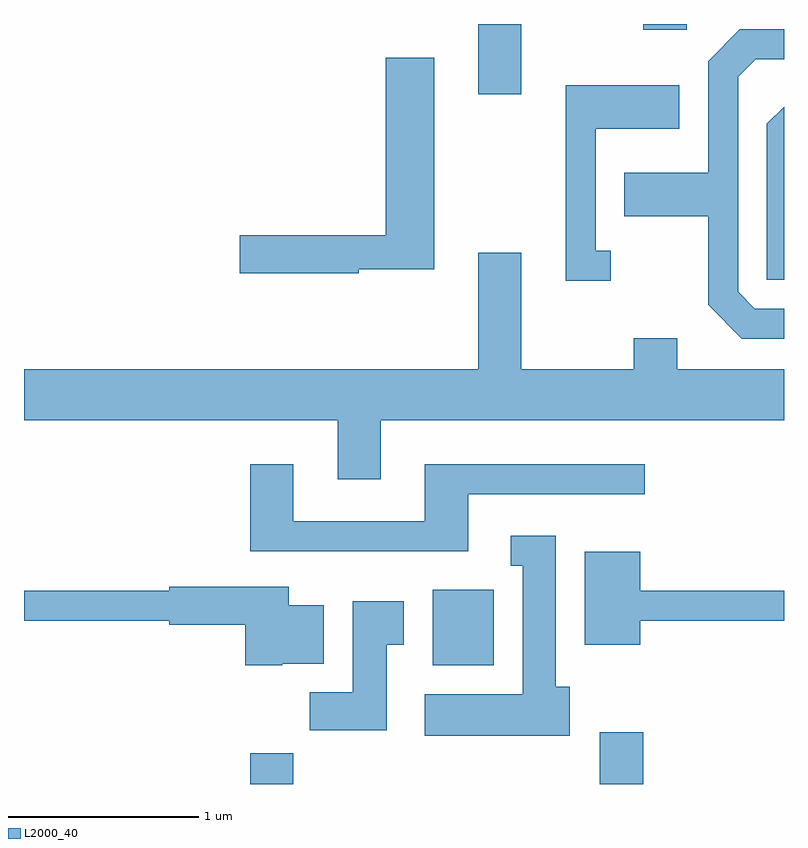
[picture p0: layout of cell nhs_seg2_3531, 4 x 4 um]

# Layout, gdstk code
import gdstk
lib = gdstk.Library(unit=1e-6, precision=1e-09)
def R(c, l, rs):  # rectangles x0, y0, x1, y1
    for r in rs: c.add(gdstk.rectangle(r[:2], r[2:], *l))
def P(c, l, *ps):  # polygons
    for p in ps: c.add(gdstk.Polygon(p, *l))
L2000_40 = (2000, 40)

nhs_seg2_3531 = lib.new_cell('nhs_seg2_3531')
R(nhs_seg2_3531, L2000_40, [(290.801,979.802,291.029,979.964), (292.641,979.802,292.869,980.074), (291.761,980.426,292.084,980.824), (292.001,983.431,292.229,983.802), (292.871,983.771,293.099,983.802)])
P(nhs_seg2_3531, L2000_40, [(293.611,982.304),(293.457,982.304),(293.369,982.392),(293.369,983.524),(293.462,983.616),(293.611,983.616),(293.611,983.774),(293.379,983.774),(293.211,983.607),(293.211,983.019),(292.771,983.019),(292.771,982.791),(293.211,982.791),(293.211,982.324),(293.389,982.146),(293.611,982.146)],
  [(291.374,982.511),(291.769,982.511),(291.769,983.624),(291.516,983.624),(291.516,982.689),(290.746,982.689),(290.746,982.491),(291.374,982.491)],
  [(292.698,982.609),(292.619,982.609),(292.619,983.251),(293.059,983.251),(293.059,983.479),(292.461,983.479),(292.461,982.451),(292.698,982.451)],
  [(293.611,983.366),(293.521,983.277),(293.521,982.456),(293.611,982.456)],
  [(291.489,981.716),(293.611,981.716),(293.611,981.984),(293.049,981.984),(293.049,982.149),(292.821,982.149),(292.821,981.984),(292.229,981.984),(292.229,982.599),(292.001,982.599),(292.001,981.984),(289.611,981.984),(289.611,981.716),(291.261,981.716),(291.261,981.406),(291.489,981.406)],
  [(291.949,981.326),(292.878,981.326),(292.878,981.484),(291.721,981.484),(291.721,981.184),(291.029,981.184),(291.029,981.484),(290.801,981.484),(290.801,981.026),(291.949,981.026)],
  [(292.484,980.314),(292.409,980.314),(292.409,981.109),(292.173,981.109),(292.173,980.951),(292.236,980.951),(292.236,980.274),(291.721,980.274),(291.721,980.056),(292.484,980.056)],
  [(292.854,980.661),(293.611,980.661),(293.611,980.819),(292.854,980.819),(292.854,981.024),(292.561,981.024),(292.561,980.536),(292.854,980.536)],
  [(290.97,980.436),(291.189,980.436),(291.189,980.744),(291.004,980.744),(291.004,980.839),(290.376,980.839),(290.376,980.819),(289.611,980.819),(289.611,980.661),(290.376,980.661),(290.376,980.641),(290.776,980.641),(290.776,980.426),(290.97,980.426)],
  [(291.519,980.536),(291.609,980.536),(291.609,980.764),(291.341,980.764),(291.341,980.284),(291.116,980.284),(291.116,980.086),(291.519,980.086)])

lib.write_gds('nhs_seg2_3531.gds')
